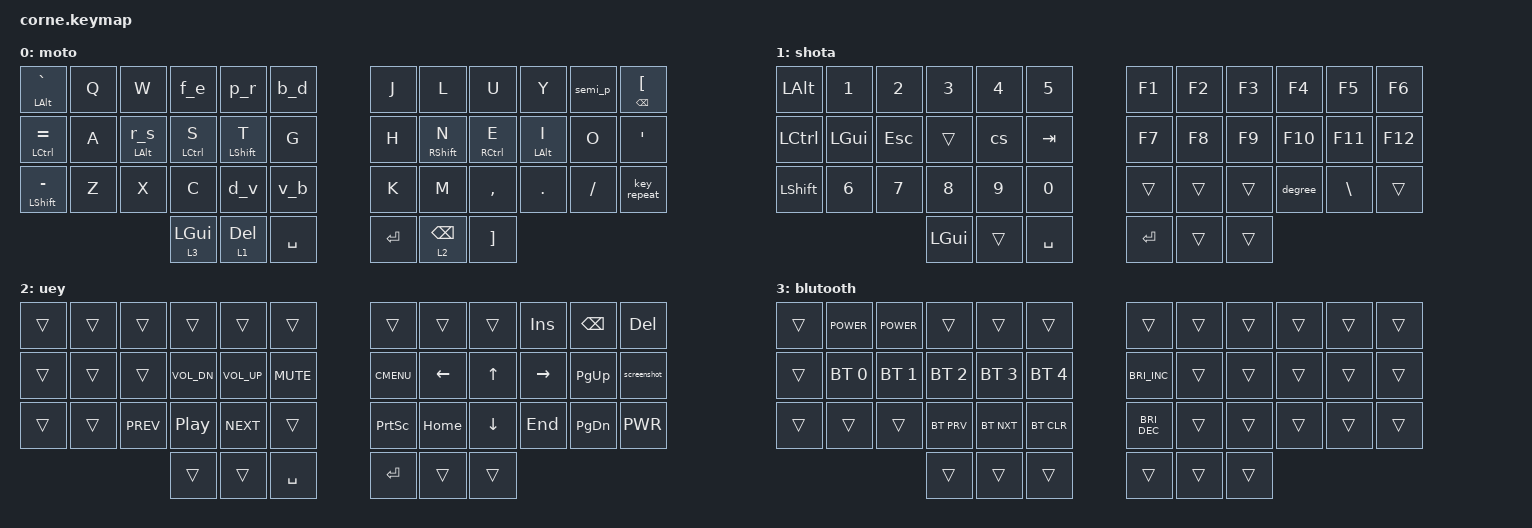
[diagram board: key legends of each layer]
/*
 * Copyright (c) 2020 The ZMK Contributors
 *
 * SPDX-License-Identifier: MIT
 */

#include <behaviors.dtsi>
#include <dt-bindings/zmk/bt.h>
#include <dt-bindings/zmk/keys.h>

&nice_view_spi {
    cs-gpios = <&pro_micro 0 GPIO_ACTIVE_HIGH>;
};

/ {
    combos {
        compatible = "zmk,combos";
    };

    behaviors {
        // del/backspace functionality for layer keys

        km: keypress_layer {
            compatible = "zmk,behavior-hold-tap";
            label = "KEYPRESS_LAYER";
            bindings =
                <&mo>,
                <&kp>;
            #binding-cells = <2>;
            tapping-term-ms = <200>;
            quick-tap-ms = <0>;
            flavor = "hold-preferred";
        };

        // simple caps shift toggle

        cs: caps_shift {
            compatible = "zmk,behavior-tap-dance";
            label = "CAPS_SHIFT";
            #binding-cells = <0>;
            tapping-term-ms = <150>;
            bindings =
                <&kp LSHFT>,
                <&kp CAPS>;
        };

        // different homerow mods durations for index vs secondary fingers (pinkies lol)

        hms: homerow_mods_short {
            compatible = "zmk,behavior-hold-tap";
            label = "HOMEROW_MODS_SHORT";
            #binding-cells = <2>;
            tapping-term-ms = <150>;
            quick-tap-ms = <0>;
            flavor = "tap-preferred";
            bindings =
                <&kp>,
                <&kp>;
        };
        hml: homerow_mods_long {
            compatible = "zmk,behavior-hold-tap";
            label = "HOMEROW_MODS_LONG";
            #binding-cells = <2>;
            tapping-term-ms = <210>;
            quick-tap-ms = <0>;
            flavor = "tap-preferred";
            bindings =
                <&kp>,
                <&kp>;
        };

        // windows explorer shortcut
        f_e: f_e {
            compatible = "zmk,behavior-mod-morph";
            label = "F_E";
            #binding-cells = <0>;
            bindings =
                <&kp F>,
                <&kp E>;
            mods = <(MOD_LGUI)>;
            keep-mods = <(MOD_LGUI)>;
        };

        // swap t and g on lctrl
        // t_g: t_g {
        //     compatible = "zmk,behavior-mod-morph";
        //     label = "T_G";
        //     #binding-cells = <0>;
        //     bindings =
        //         <&kp T>,
        //         <&kp G>;
        //     mods = <(MOD_LCTL)>;
        //     keep-mods = <(MOD_LCTL)>;
        // };
        // g_t: g_t {
        //     compatible = "zmk,behavior-mod-morph";
        //     label = "G_T";
        //     #binding-cells = <0>;
        //     bindings =
        //         <&kp G>,
        //         <&kp T>;
        //     mods = <(MOD_LCTL)>;
        //     keep-mods = <(MOD_LCTL)>;
        // };

        // r to s, p to r, on lctrl
        r_s: r_s {
            compatible = "zmk,behavior-mod-morph";
            label = "R_S";
            #binding-cells = <0>;
            bindings =
                <&kp R>,
                <&kp S>;
            mods = <(MOD_LCTL)>;
            keep-mods = <(MOD_LCTL)>;
        };
        p_r: p_r {
            compatible = "zmk,behavior-mod-morph";
            label = "P_R";
            #binding-cells = <0>;
            bindings =
                <&kp P>,
                <&kp R>;
            mods = <(MOD_LCTL)>;
            keep-mods = <(MOD_LCTL)>;
        };

        //dvb retrigger
        d_v: d_v {
            compatible = "zmk,behavior-mod-morph";
            label = "D_V";
            #binding-cells = <0>;
            bindings =
                <&kp D>,
                <&kp V>;
            mods = <(MOD_LCTL)>;
            keep-mods = <(MOD_LCTL)>;
        };
        v_b: v_b {
            compatible = "zmk,behavior-mod-morph";
            label = "V_B";
            #binding-cells = <0>;
            bindings =
                <&kp V>,
                <&kp B>;
            mods = <(MOD_LCTL)>;
            keep-mods = <(MOD_LCTL)>;
        };
        b_d: b_d {
            compatible = "zmk,behavior-mod-morph";
            label = "B_D";
            #binding-cells = <0>;
            bindings =
                <&kp B>,
                <&kp D>;
            mods = <(MOD_LCTL)>;
            keep-mods = <(MOD_LCTL)>;
        };
        
        // semi to p on rctrl
        semi_p: semi_p {
            compatible = "zmk,behavior-mod-morph";
            label = "SEMI_P";
            #binding-cells = <0>;
            bindings =
                <&kp SEMI>,
                <&kp P>;
            mods = <(MOD_RCTL)>;
            keep-mods = <(MOD_RCTL)>;
        };

        // nested mod morph on homerow mod
        // hm_c_tg: homerow_mods_lctrl_tg {
        //     compatible = "zmk,behavior-hold-tap";
        //     label = "HOMEROW_MOD_MORPH_LCTRL_TG";
        //     #binding-cells = <2>;
        //     tapping-term-ms = <150>;
        //     quick-tap-ms = <0>;
        //     flavor = "tap-preferred";
        //     bindings =
        //         <&kp>,
        //         <&t_g>;
        // };
        hm_c_rs: homerow_mods_lctrl_rs {
            compatible = "zmk,behavior-hold-tap";
            label = "HOMEROW_MOD_MORPH_LCTRL_RS";
            #binding-cells = <2>;
            tapping-term-ms = <210>;
            quick-tap-ms = <0>;
            flavor = "tap-preferred";
            bindings =
                <&kp>,
                <&r_s>;
        };
        // ht_rp: hold_tap_repeat {
        //     compatible = "zmk,behavior-hold-tap";
        //     label = "HOMEROW_MOD_MORPH_LCTRL_RS";
        //     #binding-cells = <2>;
        //     tapping-term-ms = <210>;
        //     quick-tap-ms = <0>;
        //     flavor = "tap-preferred";
        //     bindings =
        //         <&kp>,
        //         <&r_s>;
        // };
    };

    macros {
        screenshot: screenshot {
            label = "SCREENSHOT";
            compatible = "zmk,behavior-macro";
            #binding-cells = <0>;
            bindings
                = <&macro_press &kp LSHFT &kp LGUI>
                , <&macro_tap &kp S>
                , <&macro_release &kp LSHFT &kp LGUI>
                ;
        };

        // degree symbol
        degree: degree {
            compatible = "zmk,behavior-macro";
            label = "DEGREE";
            #binding-cells = <0>;
            wait-ms = <1>;
            tap-ms = <1>;
            bindings
                = <&macro_press   &kp LALT>
                , <&macro_tap     &kp KP_N0 &kp KP_N1 &kp KP_N7 &kp KP_N6>
                , <&macro_release &kp LALT>
                ;
        };
    };

    keymap {
        compatible = "zmk,keymap";

        default_layer {
            //元, default layer

            label = "moto";
            bindings = <
&hml LALT GRAVE   &kp Q    &kp W            &f_e          &p_r              &b_d         /*||*/     &kp J    &kp L         &kp U          &kp Y        &semi_p   &hms BSPC LBKT
&hml LCTRL EQUAL  &kp A    &hm_c_rs LALT 0  &hms LCTRL S  &hms LSHFT T      &kp G        /*||*/     &kp H    &hms RSHFT N  &hms RCTRL E   &hml LALT I  &kp O     &kp SQT
&hml LSHFT MINUS  &kp Z    &kp X            &kp C         &d_v              &v_b         /*||*/     &kp K    &kp M         &kp COMMA      &kp DOT      &kp FSLH  &key_repeat
                                            &km 3 LGUI    &km 1 DEL         &kp SPACE    /*||*/     &kp RET  &km 2 BSPC    &kp RBKT
            >;
        };

        lower_layer {
            //下, lower

            label = "shota";
            bindings = <
&kp LALT   &kp N1    &kp N2   &kp N3    &kp N4  &kp N5       &kp F1   &kp F2  &kp F3  &kp F4   &kp F5    &kp F6
&kp LCTRL  &kp LGUI  &kp ESC  &trans    &cs     &kp TAB      &kp F7   &kp F8  &kp F9  &kp F10  &kp F11   &kp F12
&kp LSHFT  &kp N6    &kp N7   &kp N8    &kp N9  &kp N0       &trans   &trans  &trans  &degree  &kp BSLH  &trans
                              &kp LGUI  &trans  &kp SPACE    &kp RET  &trans  &trans
            >;
        };

        raise_layer {
            //上, upper

            label = "uey";
            bindings = <
&trans   &trans  &trans      &trans            &trans        &trans        &trans       &trans    &trans    &kp INS    &kp BSPC   &kp DEL
&trans   &trans  &trans      &kp C_VOL_DN      &kp C_VOL_UP  &kp C_MUTE    &kp K_CMENU  &kp LEFT  &kp UP    &kp RIGHT  &kp PG_UP  &screenshot
&trans   &trans  &kp C_PREV  &kp C_PLAY_PAUSE  &kp C_NEXT    &trans        &kp PSCRN    &kp HOME  &kp DOWN  &kp END    &kp PG_DN  &kp C_PWR
                             &trans            &trans        &kp SPACE     &kp RET      &trans    &trans
            >;
        };

        bt_layer {
            // bluetooth controls and other PC controls

            label = "blutooth";
            bindings = <
&trans  &kp C_POWER   &kp K_POWER   &trans        &trans        &trans          &trans                &trans  &trans  &trans  &trans  &trans
&trans  &bt BT_SEL 0  &bt BT_SEL 1  &bt BT_SEL 2  &bt BT_SEL 3  &bt BT_SEL 4    &kp C_BRIGHTNESS_INC  &trans  &trans  &trans  &trans  &trans
&trans  &trans        &trans        &bt BT_PRV    &bt BT_NXT    &bt BT_CLR      &kp C_BRIGHTNESS_DEC  &trans  &trans  &trans  &trans  &trans
                                    &trans        &trans        &trans          &trans                &trans  &trans
            >;
        };

//         // id: 4

//         game_layer {
//             // WASD LAYER

//             label = "GAME0";
//             bindings = <
// &kp ESC    &kp TAB     &kp Q  &kp W     &kp E      &kp R    &none  &kp A  &kp P  &kp E  &kp X      &to 0
// &kp N3     &kp LSHIFT  &kp A  &kp S     &kp D      &kp F    &none  &none  &none  &none  &none      &none
// &kp T      &kp LCTRL   &kp Z  &kp X     &kp C      &kp V    &none  &none  &none  &none  &kp PSCRN  &none
//                               &kp LALT  &kp SPACE  &mo 5    &none  &none  &none
//             >;
//         };

//         // id: 5

//         game_layer_2 {
//             // helper layer for numrow etc.

//             label = "GAME1";
//             bindings = <
// &kp N6  &kp N5  &kp N1  &trans  &kp N2  &kp N4    &none  &none  &none  &none  &none  &none
// &kp F1  &trans  &trans  &trans  &trans  &kp G     &none  &none  &none  &none  &none  &none
// &none   &none   &none   &none   &kp Y   &kp V     &none  &none  &none  &none  &none  &none
//                         &trans  &trans  &none     &none  &none  &none
//             >;
//         };
    };
};
